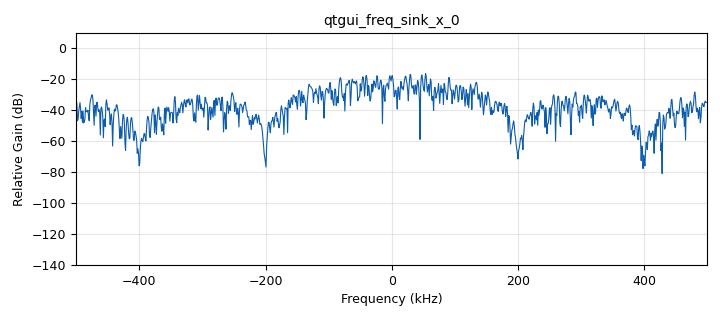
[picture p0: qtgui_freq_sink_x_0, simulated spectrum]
options:
  parameters:
    generate_options: qt_gui
    id: lesson_10_homework
    output_language: python
    title: Not titled yet
  states: {}

blocks:
- name: samp_rate
  id: variable
  parameters:
    value: 1e6
  states: {}
- name: tap0
  id: variable_qtgui_range
  parameters:
    start: '-1'
    step: '1'
    stop: '1'
    value: '1'
    widget: eng_slider
  states: {}
- name: tap1
  id: variable_qtgui_range
  parameters:
    start: '-1'
    step: '1'
    stop: '1'
    value: '1'
    widget: eng_slider
  states: {}
- name: tap2
  id: variable_qtgui_range
  parameters:
    start: '-1'
    step: '1'
    stop: '1'
    value: '1'
    widget: eng_slider
  states: {}
- name: tap3
  id: variable_qtgui_range
  parameters:
    start: '-1'
    step: '1'
    stop: '1'
    value: '1'
    widget: eng_slider
  states: {}
- name: tap4
  id: variable_qtgui_range
  parameters:
    start: '-1'
    step: '1'
    stop: '1'
    value: '1'
    widget: eng_slider
  states: {}
- name: analog_noise_source_x_0
  id: analog_noise_source_x
  parameters:
    amp: '1'
    noise_type: analog.GR_GAUSSIAN
    seed: '0'
    type: complex
  states: {}
- name: blocks_add_xx_0
  id: blocks_add_xx
  parameters:
    num_inputs: '5'
    type: complex
  states: {}
- name: blocks_delay_0
  id: blocks_delay
  parameters:
    delay: '1'
    type: complex
  states: {}
- name: blocks_delay_1
  id: blocks_delay
  parameters:
    delay: '2'
    type: complex
  states: {}
- name: blocks_delay_1_0
  id: blocks_delay
  parameters:
    delay: '3'
    type: complex
  states: {}
- name: blocks_delay_1_1
  id: blocks_delay
  parameters:
    delay: '4'
    type: complex
  states: {}
- name: blocks_multiply_const_vxx_0
  id: blocks_multiply_const_vxx
  parameters:
    const: '1'
    type: complex
  states: {}
- name: blocks_multiply_const_vxx_0_0
  id: blocks_multiply_const_vxx
  parameters:
    const: '1'
    type: complex
  states: {}
- name: blocks_multiply_const_vxx_0_1
  id: blocks_multiply_const_vxx
  parameters:
    const: '1'
    type: complex
  states: {}
- name: blocks_multiply_const_vxx_0_1_1
  id: blocks_multiply_const_vxx
  parameters:
    const: '1'
    type: complex
  states: {}
- name: blocks_multiply_const_vxx_0_1_1_0
  id: blocks_multiply_const_vxx
  parameters:
    const: '1'
    type: complex
  states: {}
- name: blocks_throttle2_0
  id: blocks_throttle2
  parameters:
    samples_per_second: samp_rate
    type: complex
  states: {}
- name: qtgui_freq_sink_x_0
  id: qtgui_freq_sink_x
  parameters:
    bw: samp_rate
    fc: '0'
    fftsize: '1024'
    type: complex
  states: {}

connections:
- [analog_noise_source_x_0, '0', blocks_throttle2_0, '0']
- [blocks_add_xx_0, '0', qtgui_freq_sink_x_0, '0']
- [blocks_delay_0, '0', blocks_multiply_const_vxx_0_0, '0']
- [blocks_delay_1, '0', blocks_multiply_const_vxx_0_1, '0']
- [blocks_delay_1_0, '0', blocks_multiply_const_vxx_0_1_1, '0']
- [blocks_delay_1_1, '0', blocks_multiply_const_vxx_0_1_1_0, '0']
- [blocks_multiply_const_vxx_0, '0', blocks_add_xx_0, '0']
- [blocks_multiply_const_vxx_0_0, '0', blocks_add_xx_0, '1']
- [blocks_multiply_const_vxx_0_1, '0', blocks_add_xx_0, '2']
- [blocks_multiply_const_vxx_0_1_1, '0', blocks_add_xx_0, '3']
- [blocks_multiply_const_vxx_0_1_1_0, '0', blocks_add_xx_0, '4']
- [blocks_throttle2_0, '0', blocks_delay_0, '0']
- [blocks_throttle2_0, '0', blocks_delay_1, '0']
- [blocks_throttle2_0, '0', blocks_delay_1_0, '0']
- [blocks_throttle2_0, '0', blocks_delay_1_1, '0']
- [blocks_throttle2_0, '0', blocks_multiply_const_vxx_0, '0']

metadata:
  file_format: 1
  grc_version: 3.10.12.0
